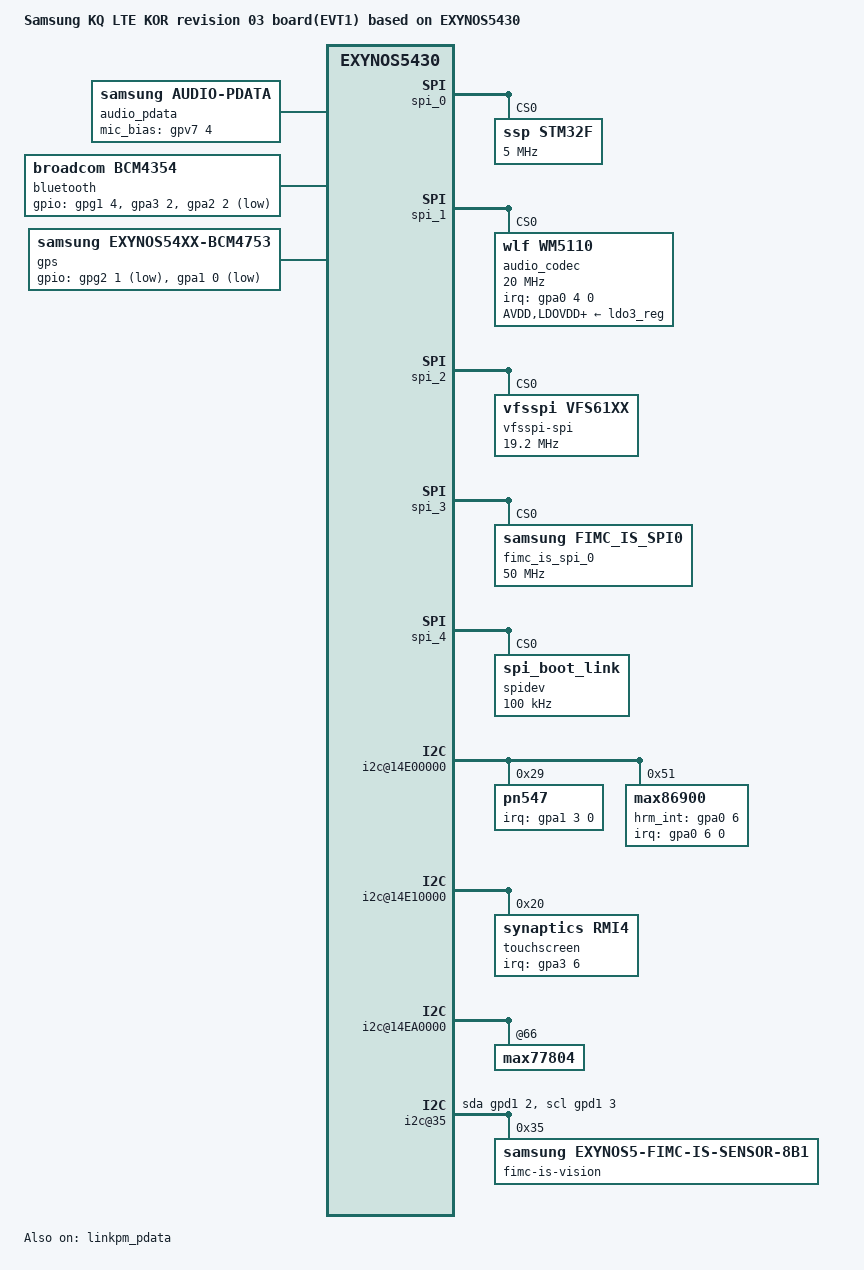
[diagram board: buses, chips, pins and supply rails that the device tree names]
/*
 * SAMSUNG UNIVERSAL5430 board device tree source
 *
 * Copyright (c) 2013 Samsung Electronics Co., Ltd.
 *		http://www.samsung.com
 *
 * This program is free software; you can redistribute it and/or modify
 * it under the terms of the GNU General Public License version 2 as
 * published by the Free Software Foundation.
*/

/dts-v1/;
#include "exynos5430-kq_common.dtsi"
#include "exynos5430-kqlte_kor_03_battery.dtsi"
#include "exynos5430-tdmb-kqlte-r02.dtsi"
#include "exynos5-sec_modem-shannon.dtsi"
#include "exynos5430-kqlte_gpio-kor_01.dtsi"

/ {
	model = "Samsung KQ LTE KOR revision 03 board(EVT1) based on EXYNOS5430";
	model_info-chip = <5430>;
	model_info-platform = "kqlte";
	model_info-subtype = "kqlte_kor_open";
	model_info-hw_rev = <8>;
	model_info-hw_rev_end = <8>; /* If add new dts file for new hw , it is set to <x>. x is suppored max system revision by this dts */
	compatible = "samsung,KQ LTE KOR,r03", "samsung,exynos5430";

	dwmmc2@15560000 {
		supports-sdr104-mode;
                vmmc-en-gpio = <&gpf3 4 0x1>;
	};

	/* modem_interface_driver: LTE */
	mif_pdata {
		compatible = "sec_modem,modem_pdata";
		status = "okay";
		pinctrl-names = "default";
		pinctrl-0 = <&cp_on &cp_off &cp_reset>;

		mif,gpio_cp_on = <&gpg2 4 0x1>;
		mif,gpio_cp_off = <&gpf4 7 0x1>;
		mif,gpio_cp_reset = <&gpa1 2 0x1>;
		mif,gpio_cp_dump_int = <&gpa2 5 0xf>;
		mif,gpio_ap_dump_int = <&gpf4 4 0x1>;
		mif,gpio_pda_active = <&gpa1 1 0x1>;
		mif,gpio_phone_active = <&gpa2 3 0x1>;
	};

	linkpm_pdata {
		compatible = "sec_modem,linkpm_pdata";
		status = "okay";

		reg = <0x12110000 0x100>,
		      <0x12130000 0x100>;

		linkpm,gpio_link_active = <&gpf4 3 0x1>;
		linkpm,gpio_link_hostwake = <&gpa2 6 0xf>;
		linkpm,gpio_link_slavewake = <&gpf4 6 0x1>;
	};

	pinctrl@10580000 {
		gpio_pda_active: gpio_pda_active {
			samsung,pins = "gpa1-1";
			samsung,pin-function = <1>;
			samsung,pin-con-pdn = <3>;
			samsung,pin-pud-pdn = <0>;
		};
		cp_reset: cp_reset {
			samsung,pins = "gpa1-2";
			samsung,pin-function = <1>;
			samsung,pin-con-pdn = <3>;
			samsung,pin-pud-pdn = <0>;
		};
	};

	pinctrl@14CC0000 {
		cp_on: cp_on {
			samsung,pins = "gpg2-4";
			samsung,pin-function = <1>;
			samsung,pin-con-pdn = <3>;
			samsung,pin-pud-pdn = <0>;
		};
		cp_off: cp_off {
			samsung,pins = "gpf4-7";
			samsung,pin-function = <1>;
			samsung,pin-con-pdn = <3>;
			samsung,pin-pud-pdn = <0>;
		};
	};
	/* End of Modem Interface */

	pinctrl@14CC0000 {
		spi0_bus: spi0-bus {
			samsung,pin-drv = <3>;
		};
		spi0_cs: spi0-cs {
			samsung,pin-drv = <3>;
		};
	};

	spi_0: spi@14d20000 {
		#address-cells = <1>;
		#size-cells = <0>;
		pinctrl-names = "default";
		pinctrl-0 = <&spi0_bus>;
		pinctrl-1 = <&spi0_cs>;

		STM32F@0 {
			compatible = "ssp,STM32F";
			reg = <0>;
			spi-max-frequency = <5000000>;
			pinctrl-names = "default";
			pinctrl-0 = <&ssp_irq &ssp_irq2 &ssp_ap_int &ssp_reset>;

			gpio-controller;
			#gpio-cells = <2>;
			ssp-irq = <&gpa3 3 0x01>;
			ssp-irq2 = <&gpa3 4 0x00>;
			ssp-ap-int = <&gpa3 7 0x00>;
			ssp-reset = <&gpd4 0 0x00>;
			ssp-acc-position = <6>;
			ssp-mag-position = <2>;
			ssp-sns-combination = <0>;
			ssp-ap-rev = <1>;

			controller-data {
				cs-gpio = <&gpd8 1 0>;
				samsung,spi-feedback-delay = <0>;
				};
			};
	};

	spi_1: spi@14d30000 {
		#address-cells = <1>;
		#size-cells = <0>;
		pinctrl-names = "default";
		pinctrl-0 = <&spi1_bus>;

		audio_codec: wm5110@0 {
			compatible = "wlf,wm5110";
			reg = <0x0>;
			spi-max-frequency = <20000000>;
			interrupts = <4 0 0>;
			interrupt-parent = <&gpa0>;

			gpio-controller;
			#gpio-cells = <2>;

			pinctrl-names ="default";
			pinctrl-0 = <&codec_ctrl>;

			wlf,reset = <&gpv7 3 0>;
			wlf,ldoena = <&gpf0 0 0>;
			wlf,init-mic-delay = <30>;
			wlf,micd-detect-debounce = <300>;
			wlf,micd-bias-start-time = <0x1>;
			wlf,micd-rate = <0x7>;
			wlf,micd-dbtime = <0x1>;
			wlf,micd-timeout = <1000>;
			wlf,micd-force-micbias;
			wlf,micd-ranges = <
				139 226
				295 115
				752 114
				1257 217
			>;

			wlf,micd-configs = <
				0x0 1 0
			>;

			wlf,micbias1 = <2800 0 1 0 0>;
			wlf,micbias2 = <1800 0 1 0 0>;
			wlf,micbias3 = <1800 0 1 0 0>;

			wlf,gpio-defaults = <
				0xA101
				0xA101
				0xA101
				0xA101
				0x8101
			>;

			wlf,gpsw = <0x3>;
			wlf,use-jd-gpio;
			wlf,jd-gpio-nopull;
			wlf,micd-software-compare;
			wlf,micd-open-circuit-declare = <1>;

			wlf,max-channels-clocked = <2 0 0>;
			/* 0:MICVDD 1:MICBIAS1 2:MICBIAS2 3:MICBIAS3 */
			wlf,dmic-ref = <2 1 3 0>;
			/* 1st cell:IN1 2rd cell:IN2 3nd cell:IN3 4th cell:IN4 */
			wlf,inmode = <2 0 2 0>;

			AVDD-supply = <&ldo3_reg>;
			LDOVDD-supply = <&ldo3_reg>;
			DBVDD1-supply = <&ldo3_reg>;

			CPVDD-supply = <&ldo3_reg>;
			DBVDD2-supply = <&ldo3_reg>;
			DBVDD3-supply = <&ldo3_reg>;
			SPKVDDL-supply = <&ldo3_reg>;
			SPKVDDR-supply = <&ldo3_reg>;

			adsps {
				#address-cells = <1>;
				#size-cells = <0>;

				adsp@1100 {
					reg = <0x1100>;
					firmware {
						EDAC {
							wlf,wmfw-file = "edac";
							wlf,bin-file = "edac";
						};
						TRACE {
							wlf,wmfw-file = "trace";
							wlf,compr-caps = <1 8 0x4 1 8000 16000 24000>;
						};
					};
				};
				adsp@1200 {
					reg = <0x1200>;
					firmware {
						TX_NB {
							wlf,wmfw-file = "tx-nb";
						};
						TX_WB {
							wlf,wmfw-file = "tx-wb";
						};
						TX_SWB_INTERVIEW {
							wlf,wmfw-file = "tx-swb";
						};
						TX_SWB_CONVERSATION {
							wlf,wmfw-file = "tx-swb";
						};
					};
				};
				adsp@1300 {
					reg = <0x1300>;
					firmware {
						TX_NB {
							wlf,wmfw-file = "tx-nb";
							wlf,bin-file = "tx-nb";
						};
						TX_WB {
							wlf,wmfw-file = "tx-wb";
							wlf,bin-file = "tx-wb";
						};
						TX_SWB_INTERVIEW {
							wlf,wmfw-file = "tx-swb";
							wlf,bin-file = "tx-swb-interview";
						};
						TX_SWB_CONVERSATION {
							wlf,wmfw-file = "tx-swb";
							wlf,bin-file = "tx-swb-conversation";
						};
						VOICECONTROL {
							wlf,wmfw-file = "ez2-control";
							wlf,bin-file = "ez2-control";
						};
						LPSD {
							wlf,wmfw-file = "ez2-control";
							wlf,bin-file = "lpsd-control";
						};
					};
				};
				adsp@1400 {
					reg = <0x1400>;
					firmware {
						RX_NB {
							wlf,wmfw-file = "rx-anc-nb";
							wlf,bin-file = "rx-anc-nb";
						};
						RX_WB {
							wlf,wmfw-file = "rx-anc-wb";
							wlf,bin-file = "rx-anc-wb";
						};
					};
				};
			};
			controller-data {
				cs-gpio = <&gpd6 3 0>;
				samsung,spi-feedback-delay = <0>;
			};
		};
	};

	pinctrl@10580000 {
		btp_irq: btp-irq {
			samsung,pins = "gpa1-7";
			samsung,pin-function = <0>;
			samsung,pin-pud = <3>;
			samsung,pin-drv = <3>;
		};
		btp_reset: btp-reset {
			samsung,pins = "gpa3-1";
			samsung,pin-function = <1>;
			samsung,pin-pud = <1>;
			samsung,pin-drv = <0>;
		};
	};
	pinctrl@14CC0000 {
		ocp_flag: ocf-flag {
			samsung,pins = "gpf0-3";
			samsung,pin-function = <0>;
			samsung,pin-pud = <3>;
			samsung,pin-drv = <3>;
		};
		btp_ldo: btp-ldo {
			samsung,pins = "gpf4-0";
			samsung,pin-function = <1>;
			samsung,pin-pud = <1>;
			samsung,pin-drv = <0>;
		};
		spi2_bus: spi2-bus {
			samsung,pin-drv = <3>;
		};

		spi2_cs: spi2-cs {
			samsung,pin-drv = <3>;
		};
	};
	spi_2: spi@14d40000 {
		/delete-property/ dma-mode;
		/delete-property/ dmas;
		/delete-property/ dma-names;
		#address-cells = <1>;
		#size-cells = <0>;
		pinctrl-names = "default";
		pinctrl-0 = <&spi2_bus>;

		vfsspi-spi@0 {
			compatible = "vfsspi,vfs61xx";
			reg = <0>;
			spi-max-frequency = <19200000>;
			pinctrl-names = "default";
			pinctrl-0 = <&btp_irq &btp_reset &btp_ldo &ocp_flag>;

			gpio-controller;
			#gpio-cells = <2>;

			vfsspi-sleepPin = <&gpa3 1 0x00>;
			vfsspi-drdyPin = <&gpa1 7 0x00>;
			vfsspi-ldoPin = <&gpf4  0 0x00>;
			/* vfsspi-ocpflag = <&gpf0 3 0x00>; */
			vfsspi-orient = <1>;
			vfsspi-ldocontrol = <1>;
			vfsspi-irqpincon = <2>; /* 1: K3G(5422), 2: KQ(5430) */

			controller-data {
				cs-gpio = <&gpd5 1 0 0 3>;
				samsung,spi-feedback-delay = <0>;
			};
		};
	};

	spi_3: spi@141a0000 {
		fimc-is-spi;
		domain = "cam1";
		samsung,power-domain = <&pd_cam1>;

		#address-cells = <1>;
		#size-cells = <0>;

		fimc_is_spi_0@0 {
			compatible = "samsung,fimc_is_spi0";
			spi-max-frequency = <50000000>;
			reg = <0x0>;

			controller-data {
				cs-gpio = <&gpc0 6 0>;
				samsung,spi-feedback-delay = <0>;
			};
		};
	};

	spi_4: spi@141b0000 {
		fimc-is-spi;
		domain = "cam1";
		samsung,power-domain = <&pd_cam1>;

		#address-cells = <1>;
		#size-cells = <0>;

		spidev@0 {
			#address-cells = <1>;
			#size-cells = <1>;
			compatible = "spi_boot_link";
			reg = <0x0>;
			spi-max-frequency = <100000>;

			controller-data {
				samsung,spi-feedback-delay = <0>;
				samsung,spi-chip-select-mode = <1>;
			};
		};
	};


	mipi-lli@10F24000 {
		reg = <0x10F24000 0x4000>,
		      <0x10F34000 0x4000>,
		      <0x10FD0000 0x2000>,
		      <0x105C0720 0x4>;
	};

	audio_pdata {
		compatible = "samsung,audio-pdata";

		mic_bias_gpio = <&gpv7 4 0>;
		status = "okay";
	};

	pinctrl@14CC0000 {
		codec_ctrl: codec-ctl {
			samsung,pins ="gpv7-3", "gpv7-4", "gpf0-0";
			samsung,pin-con-pdn = <3>;
		};
	};

	i2c@14E00000 {
		samsung,i2c-sda-delay = <100>;
		samsung,i2c-max-bus-freq = <400000>;
		#address-cells = <1>;
		#size-cells = <0>;
		status = "okay";

		pn547@2b {
			compatible = "pn547";
			reg = <0x29>;

			interrupts = <3 0 0>;
			interrupt-parent = <&gpa1>;

			pn547-en = <&gpf1 4 0>;
			pn547-irq = <&gpa1 3 0>;
			pn547-firmware = <&gpj0 2 0>;
			pn547-clk-req = <&gpa0 0 0xf>;
			pn547-clk-use = <2>;
			pinctrl-names = "default";
			pinctrl-0 = <&fimc_is_ch1_mclk>;
			clock-names = "sclk_isp_sensor1",
						"mout_sclk_isp_sensor1",
						"dout_sclk_isp_sensor1_a",
						"dout_sclk_isp_sensor1_b",
						"gate_top_cam1";
			clocks = <&clock 34>,
					<&clock 3067>,
					<&clock 4092>,
					<&clock 4093>,
					<&clock 2780>;
		};

		max86900@51 {
			compatible = "max86900";
			reg = <0x51>;
			pinctrl-names = "default";
			pinctrl-0 = <&hrm_int>;
			interrupt-parent = <&gpa0>;
			interrupts = <6 0 0>;
			max86900,hrm_int-gpio = <&gpa0 6 0x00>;
		};
	};

	pinctrl@10580000 {
		attn_irq: attn-irq {
			samsung,pins = "gpa3-6";
			samsung,pin-function = <0xf>;
			samsung,pin-pud = <0>;
			samsung,pin-drv = <0>;
		};
		attn_input: attn-input {
			samsung,pins = "gpa3-6";
			samsung,pin-function = <0>;
			samsung,pin-pud = <1>;
			samsung,pin-drv = <0>;
		};
	};

	i2c@14E10000 {
		samsung,i2c-sda-delay = <100>;
		samsung,i2c-max-bus-freq = <400000>;
		status = "okay";
		touchscreen@20 {
			compatible = "synaptics,rmi4";
			reg = <0x20>;
			pinctrl-names = "on_state", "off_state";
			pinctrl-0 = <&attn_irq>;
			pinctrl-1 = <&attn_input>;
			synaptics,irq_gpio = <&gpa3 6 0>;
			synaptics,irq_type = <8200>;
			synaptics,max_coords = <1439 2559>;	/* x y */
			synaptics,num_lines = <29 16>;		/* rx tx */
			synaptics,regulator_dvdd = "tsp_io";
			synaptics,regulator_avdd = "tsp_avdd";
			synaptics,project_name = "KQ";
		};
	};

	pinctrl@14CC0000 {
		vibetonz_pwm: vibetonz-pwm {
		      samsung,pins = "gpd2-4";
		      samsung,pin-function = <2>;
		      samsung,pin-pud = <0>;
		      samsung,pin-drv = <0>;
	      };
	};

	i2c@14EA0000 {
		samsung,i2c-sda-delay = <100>;
		samsung,i2c-max-bus-freq = <400000>;
		status = "okay";
		max77804@66 {
			status = "okay";
		};
		max77828@49 {
			status = "disabled";
		};
	};

	i2c_8: i2c@14130000 {
		samsung,spi-feedback-delay = <0>;
		samsung,spi-chip-select-mode = <1>;
        };

	i2c@1c{
		status = "disabled";
	};

	i2c@35{
		compatible = "i2c-gpio";
		gpios = <&gpd1 2 0 /* sda */
			&gpd1 3 0 /* scl */
			>;
		i2c-gpio,delay-us = <2>;
		#address-cells = <1>;
		#size-cells = <0>;
		status = "okay";

		fimc-is-vision@35 {
			compatible = "samsung,exynos5-fimc-is-sensor-8b1";
			reg = <0x35>;
		};
	};

	torch {
		status = "okay";
		leds1 {
			ledname = "leds-sec1";
		/* MAX77804_FLASH_LED_1 */
			id = <0>;
		/* MAX77804_FLASH_TIME_187P5MS */
			timer = <2>;
		/* MAX77804_TIMER_MODE_MAX_TIMER */
			timer_mode = <1>;
		/* MAX77804_LED_CTRL_BY_FLASHSTB */
			cntrl_mode = <0>;
			brightness = <0x3D>;
		};
		leds2 {
			ledname = "torch-sec1";
		/* MAX77804_TORCH_LED_1 */
			id = <1>;
		/* MAX77804_LED_CTRL_BY_FLASHSTB */
			cntrl_mode = <0>;
			brightness = <0x06>;
		};
	};

	pinctrl@114B0000 {
		uart_aud_rts: uart-aud-rts {
			samsung,pins = "gpz1-3";
			samsung,pin-function = <2>;
			samsung,pin-pud = <3>;
			samsung,pin-con-pdn = <1>;
			samsung,pin-pud-pdn = <3>;
		};

		uart_aud_cts: uart-aud-cts {
			samsung,pins = "gpz1-2";
			samsung,pin-function = <2>;
			samsung,pin-pud = <3>;
			samsung,pin-con-pdn = <2>;
			samsung,pin-pud-pdn = <3>;
		};

		uart_aud_rx: uart-aud-rx {
			samsung,pins = "gpz1-1";
			samsung,pin-function = <2>;
			samsung,pin-pud = <3>;
			samsung,pin-con-pdn = <2>;
			samsung,pin-pud-pdn = <3>;
		};

		uart_aud_tx: uart-aud-tx {
			samsung,pins = "gpz1-0";
			samsung,pin-function = <2>;
			samsung,pin-pud = <3>;
			samsung,pin-con-pdn = <1>;
			samsung,pin-pud-pdn = <3>;
		};
	};

	serial@11460000 {
		pinctrl-0 = <&uart_aud_rts &uart_aud_cts &uart_aud_rx &uart_aud_tx>;
	};

/*
			samsung,pins = "gpa0-0";

			samsung,pin-function = <2>;
			0 : input, 1 : output 2 : special_function

			samsung,pin-pud = <0>;
			0 : reserved 1 : pull down 2 : reserved 3 : pull up

			samsung,pin-con-pdn = <2>;
			0 : output0 1 : output1 2: input 3: previous state

			samsung,pin-pud-pdn = <0>;
			0 : pull up/down disable 1 : pull down 2 : reserved 3 : pull up
*/

	pinctrl@14CC0000 {
		cfg_en: cfg-en {
			samsung,pins ="gpg1-4";
			samsung,pin-function = <1>;
			samsung,pin-pud = <1>;
			samsung,pin-con-pdn = <3>;
			samsung,pin-pud-pdn = <1>;
		};
	};

	pinctrl@10580000{
		cfg_hostwake: cfg-hostwake {
			samsung,pins = "gpa2-2";
			samsung,pin-function = <0>;
			samsung,pin-pud = <2>;
			samsung,pin-con-pdn = <2>;
			samsung,pin-pud-pdn = <0>;
		};

		cfg_btwake: cfg-btwake {
			samsung,pins = "gpa3-2";
			samsung,pin-function = <1>;
			samsung,pin-pud = <1>;
			samsung,pin-con-pdn = <0>;
			samsung,pin-pud-pdn = <1>;
		};
	};

	bluetooth {
		compatible = "broadcom,bcm4354";

		gpios = <&gpg1 4 0	/*BT_EN*/
				&gpa3 2 0	/*BT_WAKE*/
				&gpa2 2 0xF	/*BT_HOST_WAKE*/ >;

		pinctrl-names = "default";
		pinctrl-0=<&cfg_hostwake &cfg_btwake &cfg_en>;
		status = "okay";
	};

	pinctrl@14CC0000 {
		uart0_rts: uart0-rts {
			samsung,pins = "gpd0-3";
			samsung,pin-function = <2>;
			samsung,pin-pud = <0>;
			samsung,pin-con-pdn = <1>;
			samsung,pin-pud-pdn = <0>;
		};

		uart0_cts: uart0-cts {
			samsung,pins = "gpd0-2";
			samsung,pin-function = <2>;
			samsung,pin-pud = <0>;
			samsung,pin-con-pdn = <2>;
			samsung,pin-pud-pdn = <1>;
		};

		uart0_tx: uart0-tx {
			samsung,pins = "gpd0-1";
			samsung,pin-function = <2>;
			samsung,pin-pud = <0>;
			samsung,pin-con-pdn = <2>;
			samsung,pin-pud-pdn = <3>;		};

		uart0_rx: uart0-rx {
			samsung,pins = "gpd0-0";
			samsung,pin-function = <2>;
			samsung,pin-pud = <3>;
			samsung,pin-con-pdn = <2>;
			samsung,pin-pud-pdn = <3>;
		};
	};

	serial@14C10000 {
		pinctrl-0 = <&uart0_rts &uart0_cts &uart0_tx &uart0_rx>;
	};

	gps {
		compatible = "samsung,exynos54xx-bcm4753";
		gpios = <&gpg2 1 0x1
				&gpa1 0 0xf
				>;
		status = "okay";
	};

	usb_notifier {
		gpios_redriver_en = <&gpf3 2 0x1>; /* USB3.0_REDRIVER_EN */
	};
};
